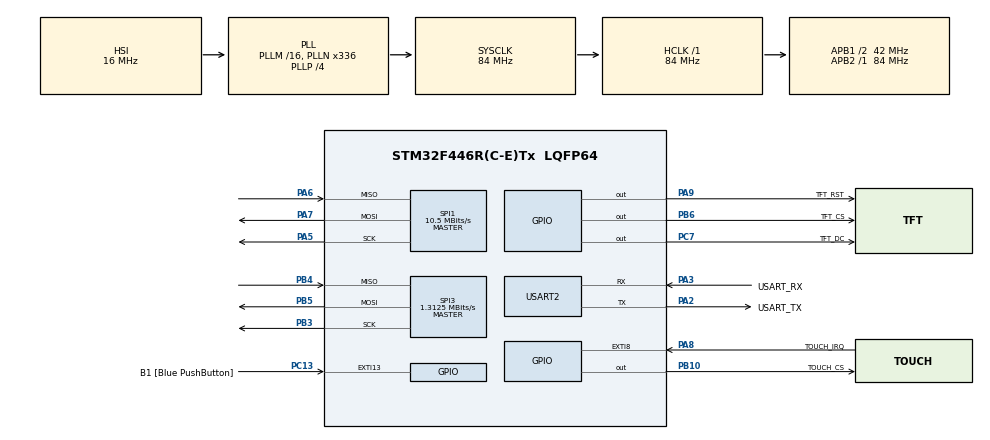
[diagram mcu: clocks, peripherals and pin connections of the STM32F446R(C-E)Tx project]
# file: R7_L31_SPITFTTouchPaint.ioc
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Mcu.Family=STM32F4
Mcu.Name=STM32F446R(C-E)Tx
Mcu.Package=LQFP64
NVIC.EXTI9_5_IRQn=true\:0\:0\:false\:true\:true\:1\:true\:true
NVIC.PriorityGroup=NVIC_PRIORITYGROUP_0
PA13.GPIO_Label=TMS
PA13.Mode=Serial_Wire
PA13.Signal=SYS_JTMS-SWDIO
PA14.GPIO_Label=TCK
PA14.Mode=Serial_Wire
PA14.Signal=SYS_JTCK-SWCLK
PA2.GPIO_Label=USART_TX
PA2.Mode=Asynchronous
PA2.Signal=USART2_TX
PA3.GPIO_Label=USART_RX
PA3.Mode=Asynchronous
PA3.Signal=USART2_RX
PA5.Mode=Full_Duplex_Master
PA5.Signal=SPI1_SCK
PA6.Mode=Full_Duplex_Master
PA6.Signal=SPI1_MISO
PA7.Mode=Full_Duplex_Master
PA7.Signal=SPI1_MOSI
PA8.GPIO_Label=TOUCH_IRQ
PA8.GPIO_ModeDefaultEXTI=GPIO_MODE_IT_FALLING
PA8.Signal=GPXTI8
PA9.GPIO_Label=TFT_RST
PA9.Signal=GPIO_Output
PB10.GPIO_Label=TOUCH_CS
PB10.Signal=GPIO_Output
PB3.Mode=Full_Duplex_Master
PB3.Signal=SPI3_SCK
PB4.Mode=Full_Duplex_Master
PB4.Signal=SPI3_MISO
PB5.Mode=Full_Duplex_Master
PB5.Signal=SPI3_MOSI
PB6.GPIO_Label=TFT_CS
PB6.Signal=GPIO_Output
PC13.GPIO_Label=B1 [Blue PushButton]
PC13.GPIO_ModeDefaultEXTI=GPIO_MODE_IT_FALLING
PC13.Signal=GPXTI13
PC14-OSC32_IN.Mode=LSE-External-Oscillator
PC14-OSC32_IN.Signal=RCC_OSC32_IN
PC15-OSC32_OUT.Mode=LSE-External-Oscillator
PC15-OSC32_OUT.Signal=RCC_OSC32_OUT
PC7.GPIO_Label=TFT_DC
PC7.Signal=GPIO_Output
PH0-OSC_IN.Mode=HSE-External-Oscillator
PH0-OSC_IN.Signal=RCC_OSC_IN
PH1-OSC_OUT.Mode=HSE-External-Oscillator
PH1-OSC_OUT.Signal=RCC_OSC_OUT
ProjectManager.HeapSize=0x200
ProjectManager.StackSize=0x400
ProjectManager.TargetToolchain=STM32CubeIDE
RCC.48MHZClocksFreq_Value=84000000
RCC.AHBFreq_Value=84000000
RCC.APB1CLKDivider=RCC_HCLK_DIV2
RCC.APB1Freq_Value=42000000
RCC.APB1TimFreq_Value=84000000
RCC.APB2Freq_Value=84000000
RCC.APB2TimFreq_Value=84000000
RCC.CortexFreq_Value=84000000
RCC.FLatency-AdvancedSettings=FLASH_LATENCY_2
RCC.HCLKFreq_Value=84000000
RCC.HSE_VALUE=8000000
RCC.HSI_VALUE=16000000
RCC.PLLN=336
RCC.PLLP=RCC_PLLP_DIV4
RCC.SYSCLKFreq_VALUE=84000000
RCC.SYSCLKSource=RCC_SYSCLKSOURCE_PLLCLK
RCC.USBFreq_Value=168000000
RCC.VCOOutputFreq_Value=336000000
SPI1.BaudRatePrescaler=SPI_BAUDRATEPRESCALER_8
SPI1.CalculateBaudRate=10.5 MBits/s
SPI1.Direction=SPI_DIRECTION_2LINES
SPI1.Mode=SPI_MODE_MASTER
SPI1.VirtualType=VM_MASTER
SPI3.BaudRatePrescaler=SPI_BAUDRATEPRESCALER_32
SPI3.CalculateBaudRate=1.3125 MBits/s
SPI3.Direction=SPI_DIRECTION_2LINES
SPI3.Mode=SPI_MODE_MASTER
SPI3.VirtualType=VM_MASTER
USART2.VirtualMode=VM_ASYNC
board=NUCLEO-F446RE

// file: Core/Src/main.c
/* USER CODE BEGIN Header */
/**
  ******************************************************************************
  * @file           : main.c
  * @brief          : Main program body
  ******************************************************************************
  * @attention
  *
  * Copyright (c) 2022 STMicroelectronics.
  * All rights reserved.
  *
  * This software is licensed under terms that can be found in the LICENSE file
  * in the root directory of this software component.
  * If no LICENSE file comes with this software, it is provided AS-IS.
  *
  ******************************************************************************
  */
/* USER CODE END Header */
#include "main.h"
#include "spi.h"
#include "usart.h"
#include "gpio.h"

/* USER CODE BEGIN Includes */
#include "TFT_ILI9341.h"
#include "GFX_Color.h"
#include "fonts/fonts.h"
#include "logo.h"
#include "GFX_EnhancedFonts.h"
#include "EnhancedFonts/arialBlack_20ptFontinfo.h"
#include "string.h"
#include "stdio.h"

#include "XPT2046.h"
#include "paint.h"
/* USER CODE END Includes */

/* USER CODE BEGIN PV */
uint8_t Msg[32];

uint16_t Xread, Yread;
/* USER CODE END PV */

void SystemClock_Config(void);
static void MX_NVIC_Init(void);

int main(void)
{

  /* MCU Configuration--------------------------------------------------------*/

  /* Reset of all peripherals, Initializes the Flash interface and the Systick. */
  HAL_Init();

  /* Configure the system clock */
  SystemClock_Config();

  /* Initialize all configured peripherals */
  MX_GPIO_Init();
  MX_USART2_UART_Init();
  MX_SPI1_Init();
  MX_SPI3_Init();

  /* Initialize interrupts */
  MX_NVIC_Init();
  /* USER CODE BEGIN 2 */
  ILI9341_Init(&hspi1);

  GFX_SetFont(font_8x5);
  EF_SetFont(&arialBlack_20ptFontInfo);

  XPT2046_Init(&hspi3, EXTI9_5_IRQn);

  ILI9341_ClearDisplay(ILI9341_WHITE);

  //GFX_Image(0, 10, logo, 220, 240);
  //ILI9341_DrawImage(0, 0, logo, 220, 240);

  //EF_PutString("Oskar jes t", 10, 250, ILI9341_BLACK, BG_TRANSPARENT, ILI9341_WHITE);

  //DoCalibration();
  //ILI9341_ClearDisplay(ILI9341_WHITE);

  /* USER CODE END 2 */

  /* Infinite loop */
  /* USER CODE BEGIN WHILE */
  while (1)
  {
	  XPT2046_Task();

	  Paint();

    /* USER CODE END WHILE */

  }
}

void SystemClock_Config(void)
{
  RCC_OscInitTypeDef RCC_OscInitStruct = {0};
  RCC_ClkInitTypeDef RCC_ClkInitStruct = {0};

  /** Configure the main internal regulator output voltage
  */
  __HAL_RCC_PWR_CLK_ENABLE();
  __HAL_PWR_VOLTAGESCALING_CONFIG(PWR_REGULATOR_VOLTAGE_SCALE3);
  /** Initializes the RCC Oscillators according to the specified parameters
  * in the RCC_OscInitTypeDef structure.
  */
  RCC_OscInitStruct.OscillatorType = RCC_OSCILLATORTYPE_HSI;
  RCC_OscInitStruct.HSIState = RCC_HSI_ON;
  RCC_OscInitStruct.HSICalibrationValue = RCC_HSICALIBRATION_DEFAULT;
  RCC_OscInitStruct.PLL.PLLState = RCC_PLL_ON;
  RCC_OscInitStruct.PLL.PLLSource = RCC_PLLSOURCE_HSI;
  RCC_OscInitStruct.PLL.PLLM = 16;
  RCC_OscInitStruct.PLL.PLLN = 336;
  RCC_OscInitStruct.PLL.PLLP = RCC_PLLP_DIV4;
  RCC_OscInitStruct.PLL.PLLQ = 2;
  RCC_OscInitStruct.PLL.PLLR = 2;
  if (HAL_RCC_OscConfig(&RCC_OscInitStruct) != HAL_OK)
  {
    Error_Handler();
  }
  /** Initializes the CPU, AHB and APB buses clocks
  */
  RCC_ClkInitStruct.ClockType = RCC_CLOCKTYPE_HCLK|RCC_CLOCKTYPE_SYSCLK
                              |RCC_CLOCKTYPE_PCLK1|RCC_CLOCKTYPE_PCLK2;
  RCC_ClkInitStruct.SYSCLKSource = RCC_SYSCLKSOURCE_PLLCLK;
  RCC_ClkInitStruct.AHBCLKDivider = RCC_SYSCLK_DIV1;
  RCC_ClkInitStruct.APB1CLKDivider = RCC_HCLK_DIV2;
  RCC_ClkInitStruct.APB2CLKDivider = RCC_HCLK_DIV1;

  if (HAL_RCC_ClockConfig(&RCC_ClkInitStruct, FLASH_LATENCY_2) != HAL_OK)
  {
    Error_Handler();
  }
}

/**
  * @brief NVIC Configuration.
  * @retval None
  */
static void MX_NVIC_Init(void)
{
  /* EXTI9_5_IRQn interrupt configuration */
  HAL_NVIC_SetPriority(EXTI9_5_IRQn, 0, 0);
  HAL_NVIC_EnableIRQ(EXTI9_5_IRQn);
}

/* USER CODE BEGIN 4 */
void HAL_GPIO_EXTI_Callback(uint16_t GPIO_Pin)
{
	if(GPIO_Pin == TOUCH_IRQ_Pin)
	{
		XPT2046_IRQ();
	}
}
/* USER CODE END 4 */

void Error_Handler(void)
{
  __disable_irq();
  while (1)
  {
  }
}
